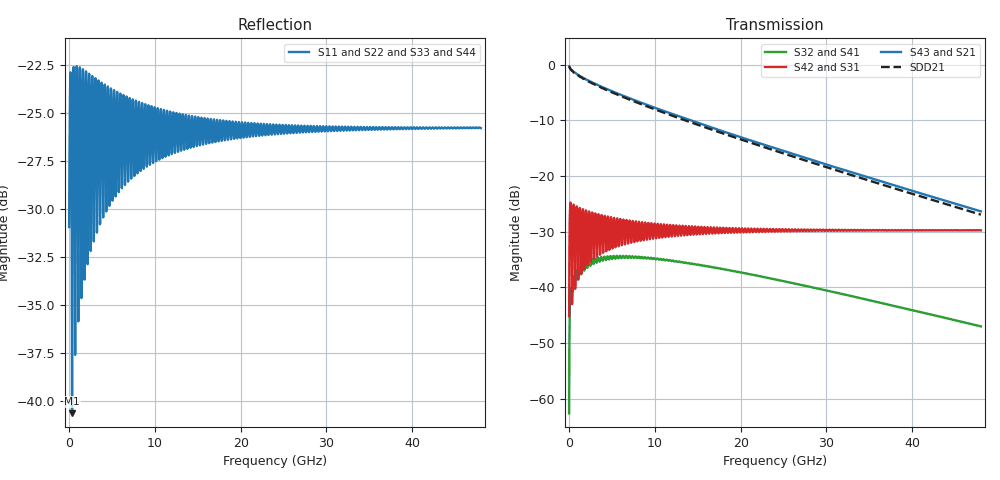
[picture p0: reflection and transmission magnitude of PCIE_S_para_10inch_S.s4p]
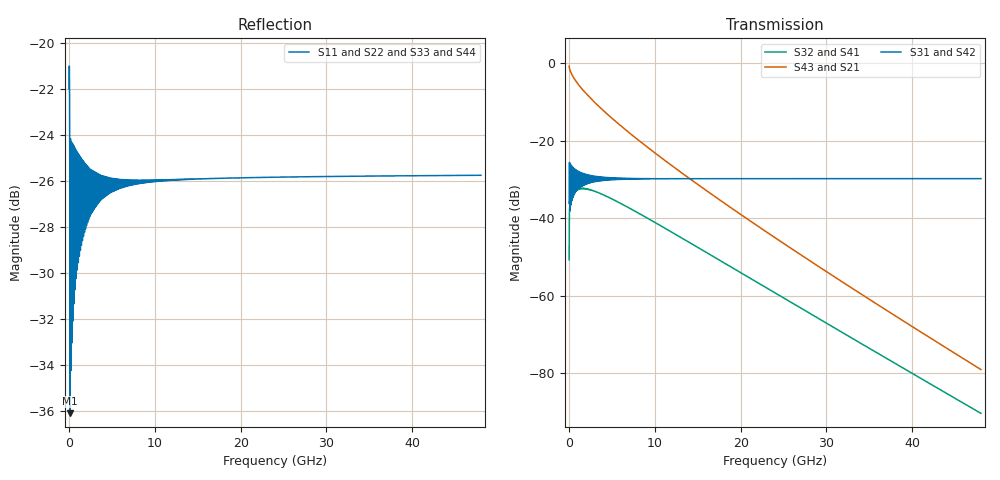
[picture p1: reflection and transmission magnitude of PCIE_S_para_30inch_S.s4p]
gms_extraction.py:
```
import numpy as np
import skrf as rf
import matplotlib.pyplot as plt
import os
import datetime

# ==========================================
# 用户配置区域 / User Configuration
# ==========================================
# 模式选择 / Mode Selection
# True: 双线去嵌模式 (Dual Line De-embedding)
# False: 单线模式 (Single Line Mode)
ENABLE_DEEMBEDDING = False

# 输入文件名 / Input Filenames
# 如果开启去嵌模式，请设置 SHORT 和 LONG 文件名
SHORT_LINE_FILENAME = 'PCIE_S_para_10inch_S.s4p'
LONG_LINE_FILENAME = 'PCIE_S_para_30inch_S.s4p'

# 如果关闭去嵌模式 (单线模式)，请设置 SINGLE 文件名
SINGLE_LINE_FILENAME = 'demo_channel.s4p'
# ==========================================

def extract_gms_single(file_path):
    """
    Extracts GMS parameters from a single transmission line file.
    Does not perform de-embedding (M = T).
    """
    # 1. Read Touchstone file
    print(f"Loading Single file: {file_path}")
    try:
        nw = rf.Network(file_path)
        print(f"  File loaded. Points: {len(nw.f)}, Ports: {nw.nports}")
    except Exception as e:
        raise ValueError(f"Failed to load Touchstone file. Error: {e}")
        
    freq = nw.f
    num_points = len(freq)

    # 2. Handle Single-Ended vs. Differential
    if nw.nports == 2:
        s_mat = nw.s
    elif nw.nports == 4:
        # Create permuted S-matrix manually for proper Differential Mode extraction
        # P: 1(0)-2(1), N: 3(2)-4(3) -> Standard: In(0,2)->Diff1, Out(1,3)->Diff2
        s_orig = nw.s
        perm = [0, 2, 1, 3]
        s_perm = s_orig[:, perm, :][:, :, perm]
        nw_perm = rf.Network(frequency=nw.frequency, s=s_perm)
        nw_perm.se2gmm(p=2)
        s_mat = nw_perm.s[:, 0:2, 0:2] # Extract Sdd
    else:
        raise ValueError("Unsupported number of ports.")

    # 3. S to T
    t_mat = rf.s2t(s_mat)

    # 4. GMS Extraction (Eigenvalues of T)
    # Direct eigenvalue decomposition of T-matrix for single line
    lambda_forward = np.zeros(num_points, dtype=complex)
    
    for i in range(num_points):
        T = t_mat[i]
        try:
            eigenvalues = np.linalg.eigvals(T)
            # Select eigenvalue with magnitude <= 1 (passive)
            # We assume the line is passive
            if np.abs(eigenvalues[0]) < np.abs(eigenvalues[1]):
                lambda_forward[i] = eigenvalues[0]
            else:
                lambda_forward[i] = eigenvalues[1]
        except np.linalg.LinAlgError:
            lambda_forward[i] = np.nan + 1j * np.nan
            
    return freq, lambda_forward


def extract_gms(file_short, file_long):
    """
    Extracts the Generalized Modal S-parameters (GMS) representing the pure 
    propagation characteristics of a transmission line difference.
    
    Args:
        file_short (str): Path to the short transmission line Touchstone file.
        file_long (str): Path to the long transmission line Touchstone file.
        
    Returns:
        tuple: (frequency_axis_in_Hz, lambda_forward_array)
    """
    # 1. Read Touchstone files
    print(f"Loading files:\n  Short: {file_short}\n  Long:  {file_long}")
    try:
        nw_short = rf.Network(file_short)
        print(f"  Short line loaded. Points: {len(nw_short.f)}, Ports: {nw_short.nports}")
        nw_long = rf.Network(file_long)
        print(f"  Long line loaded. Points: {len(nw_long.f)}, Ports: {nw_long.nports}")
    except Exception as e:
        raise ValueError(f"Failed to load Touchstone files. Error: {e}")
    
    # Check if frequency points match exactly
    if not np.array_equal(nw_short.f, nw_long.f):
        raise ValueError("The frequency points of the two files do not match exactly.")
    
    freq = nw_short.f
    num_points = len(freq)
    
    # 2. Handle Single-Ended vs. Differential
    if nw_short.nports == 2 and nw_long.nports == 2:
        # 2-port (Single-ended): Keep the 2x2 S-parameter matrix as is
        s_short = nw_short.s
        s_long = nw_long.s
    elif nw_short.nports == 4 and nw_long.nports == 4:
        # 4-port (Differential): Convert to mixed-mode and extract Sdd
        # The user specified port mapping:
        # P: 1 -> 2
        # N: 3 -> 4
        # This means ports 1,3 are input (P,N) and ports 2,4 are output (P,N)
        # skrf se2gmm default expects ports 1,2 to be diff pair 1 and 3,4 to be diff pair 2.
        # We need to renumber the ports so that:
        # New Port 1 = Old Port 1 (Input P)
        # New Port 2 = Old Port 3 (Input N)
        # New Port 3 = Old Port 2 (Output P)
        # New Port 4 = Old Port 4 (Output N)
        
        # skrf.Network.renumber(from_ports, to_ports)
        # We want to reorder ports to match se2gmm expectation.
        # se2gmm(p=2) expects:
        #  - Diff Port 1 composed of (NewPort0, NewPort1)
        #  - Diff Port 2 composed of (NewPort2, NewPort3)
        # User config:
        #  - Input Diff Pair = (OldPort0, OldPort2)  [User said P:1, N:3]
        #  - Output Diff Pair = (OldPort1, OldPort3) [User said P:2, N:4]
        
        # So we want the new port order to be: [Old0, Old2, Old1, Old3]
        # In skrf.renumber, the signatures are tricky.
        # It's better to use subset indexing which acts as reordering.
        # new_ntwk = ntwk.subnetwork([0, 2, 1, 3])  <-- This might be cleaner if supported, 
        # but skrf usually uses default indexing for subsetting.
        
        # Let's use the explicit renumber method which swaps indices.
        # Actually, creating a new network from s-parameters with permuted indices is safer 
        # to ensure we don't misunderstand 'renumber'.
        
        # Original S-matrix shape: (freq, 4, 4)
        # We want to shuffle rows and columns.
        # New order of indices: [0, 2, 1, 3]
        # 0 -> 0
        # 1 -> 2
        # 2 -> 1
        # 3 -> 3
        
        # Let's implement this manually on the s-matrix to be absolutely sure.
        s_short_orig = nw_short.s
        s_long_orig = nw_long.s
        
        # Permutation vector
        perm = [0, 2, 1, 3]
        
        # Reorder s_short
        s_short_perm = s_short_orig[:, perm, :][:, :, perm]
        # Reorder s_long
        s_long_perm = s_long_orig[:, perm, :][:, :, perm]
        
        # Create temporary networks for conversion
        nw_short_perm = rf.Network(frequency=nw_short.frequency, s=s_short_perm)
        nw_long_perm = rf.Network(frequency=nw_long.frequency, s=s_long_perm)
        
        # Now convert to mixed mode
        nw_short_perm.se2gmm(p=2)
        nw_long_perm.se2gmm(p=2)
        
        # Extract Sdd (differential-to-differential) which is the first 2x2 block
        s_short = nw_short_perm.s[:, 0:2, 0:2]
        s_long = nw_long_perm.s[:, 0:2, 0:2]
    else:
        raise ValueError("Unsupported number of ports. Must be both 2-port or both 4-port.")
        
    # 3. S-parameters to T-parameters Conversion
    # Convert the 2x2 S-parameter matrix to 2x2 T-parameters
    t_short = rf.s2t(s_short)
    t_long = rf.s2t(s_long)
    
    # 4. The Core Patent Algorithm (Matrix Math & Eigenvalues)
    lambda_forward = np.zeros(num_points, dtype=complex)
    
    for i in range(num_points):
        T1 = t_short[i]
        T2 = t_long[i]
        
        try:
            # Calculate the de-embedding matrix M
            # According to the method: M = T_long * inv(T_short)
            # T1 is t_short, T2 is t_long
            T1_inv = np.linalg.inv(T1)
            M = np.matmul(T2, T1_inv)
            
            # Calculate the eigenvalues of matrix M
            eigenvalues = np.linalg.eigvals(M)
            
            # Select the correct eigenvalue (smaller magnitude, representing attenuation)
            # A passive transmission line must have attenuation, so magnitude <= 1
            # Note: Sometimes numerical noise might make it slightly > 1, but generally <= 1.
            # We select the one with the smaller magnitude.
            # However, we must be careful. The eigenvalues correspond to e^(-gamma*L) and e^(+gamma*L).
            # e^(-gamma*L) is the forward transmission (lossy), so magnitude < 1.
            # e^(+gamma*L) is the formulation for backward, magnitude > 1.
            
            # Let's sort by magnitude
            # We want the one with magnitude < 1 (or the smaller one if both are close to 1)
            # Also, check for phase continuity to avoid swapping?
            # For now, just magnitude based selection as per instructions.
            
            if np.abs(eigenvalues[0]) < np.abs(eigenvalues[1]):
                lambda_forward[i] = eigenvalues[0]
            else:
                lambda_forward[i] = eigenvalues[1]
                
        except np.linalg.LinAlgError:
            # Handle singular matrix inversion gracefully
            lambda_forward[i] = np.nan + 1j * np.nan
            
    return freq, lambda_forward

if __name__ == '__main__':
    script_dir = os.path.dirname(os.path.abspath(__file__))
    
    # Generate timestamp string (YYYYMMDD_HHMMSS)
    timestamp_str = datetime.datetime.now().strftime("%Y%m%d_%H%M%S")

    try:
        if ENABLE_DEEMBEDDING:
            if not SHORT_LINE_FILENAME or not LONG_LINE_FILENAME:
                raise ValueError("Error: De-embedding mode enabled but SHORT or LONG filename is missing.")
                
            print(f"[{timestamp_str}] Dual De-embedding Mode Selected.")
            file_short_path = os.path.join(script_dir, SHORT_LINE_FILENAME)
            file_long_path = os.path.join(script_dir, LONG_LINE_FILENAME)
            
            if not os.path.exists(file_short_path):
                raise FileNotFoundError(f"Error: Short line file not found at: {file_short_path}")
            if not os.path.exists(file_long_path):
                raise FileNotFoundError(f"Error: Long line file not found at: {file_long_path}")

            print(f"Reading Short Line: {file_short_path}")
            print(f"Reading Long Line:  {file_long_path}")
                
            freq, lambda_forward = extract_gms(file_short_path, file_long_path)
            mode_str = "deembedded"
            base_name = os.path.splitext(LONG_LINE_FILENAME)[0]
        
        else:
            if not SINGLE_LINE_FILENAME:
                 raise ValueError("Error: Single line mode enabled but SINGLE filename is missing.")
            
            print(f"[{timestamp_str}] Single File Mode Selected.")
            file_single_path = os.path.join(script_dir, SINGLE_LINE_FILENAME)
            if not os.path.exists(file_single_path):
                raise FileNotFoundError(f"Error: Single file not found at: {file_single_path}")

            print(f"Reading Single Line: {file_single_path}")
            freq, lambda_forward = extract_gms_single(file_single_path)
            mode_str = "single"
            base_name = os.path.splitext(SINGLE_LINE_FILENAME)[0]
        
        # 5. Construct the final GMS S21 and Plot
        # Calculate Magnitude in dB
        # Avoid log10(0) by adding a small epsilon if necessary, though lambda_forward shouldn't be 0
        mag_db = 20 * np.log10(np.abs(lambda_forward) + 1e-15)
        
        # Calculate Phase in degrees (unwrapped)
        # The phase should be unwrapped and then wrapped to 360 degrees
        phase_rad = np.unwrap(np.angle(lambda_forward))
        phase_deg = np.degrees(phase_rad)
        
        # Wrap phase to 360 degrees
        phase_deg = phase_deg % 360
        
        freq_ghz = freq / 1e9
        
        # 6. Output GMS parameters to .s4p file
        # Create a 4-port network with the same format as input
        # S11, S22, S33, S44 = 0
        # S21, S12, S43, S34 = lambda_forward (assuming symmetric and same for P and N)
        # Other cross terms = 0
        
        num_points = len(freq)
        s_gms = np.zeros((num_points, 4, 4), dtype=complex)
        
        # User specified P: 1-2, N: 3-4.
        # S21 (From Port 1 to Port 2) -> index [1, 0]
        s_gms[:, 1, 0] = lambda_forward
        # S12 (From Port 2 to Port 1) -> index [0, 1]
        s_gms[:, 0, 1] = lambda_forward
        
        # S43 (From Port 3 to Port 4) -> index [3, 2]
        s_gms[:, 3, 2] = lambda_forward
        # S34 (From Port 4 to Port 3) -> index [2, 3]
        s_gms[:, 2, 3] = lambda_forward
        
        nw_gms = rf.Network(frequency=rf.Frequency.from_f(freq, unit='hz'), s=s_gms)
        
        # Output filename: [time]_[filename]_diffline.s4p
        output_filename = f"{timestamp_str}_{base_name}_diffline.s4p"
        output_file_path = os.path.join(script_dir, output_filename)
        
        nw_gms.write_touchstone(output_file_path)
        print(f"GMS parameters saved to: {output_file_path}")
        
        # Plotting
        fig, (ax1, ax2) = plt.subplots(2, 1, figsize=(10, 8))
        
        # Subplot 1: Magnitude
        ax1.plot(freq_ghz, mag_db, label=f'GMS S21 ({mode_str})', color='b')
        ax1.set_title(f'GMS S21 Magnitude ({mode_str})')
        ax1.set_xlabel('Frequency (GHz)')
        ax1.set_ylabel('Magnitude (dB)')
        ax1.grid(True)
        ax1.legend()
        
        # Subplot 2: Phase
        ax2.plot(freq_ghz, phase_deg, label=f'GMS S21 Phase ({mode_str})', color='r')
        ax2.set_title(f'GMS S21 Phase ({mode_str})')
        ax2.set_xlabel('Frequency (GHz)')
        ax2.set_ylabel('Phase (Degrees)')
        ax2.grid(True)
        ax2.legend()
        
        plt.tight_layout()
        print("Showing plot...")
        plt.show()
        print("Script finished successfully.")
        
    except Exception as e:
        print(f"An error occurred: {e}")
```
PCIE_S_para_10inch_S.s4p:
#	Hz	S	MA	R	50
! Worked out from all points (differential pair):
!   4800 points, 10 MHz to 48 GHz, reference 50 ohm
!   strongest paths, dB at 10 MHz, 12.01 GHz, 24.01 GHz, 36.01 GHz, 48 GHz:
!     S43: -0.3, -8.8, -15.0, -20.8, -26.4
!     S21: -0.3, -8.8, -15.0, -20.8, -26.4
!     S42: -45.2, -30.6, -30.0, -29.8, -29.8
!     S31: -45.2, -30.6, -30.0, -29.8, -29.8
!     S32: -62.7, -35.2, -38.6, -42.7, -47.0
!     S41: -62.7, -35.2, -38.6, -42.7, -47.0
!   taken as a pair (ports 3,1 in; 4,2 out), SDD21 dB: -0.3, -9.1, -15.4, -21.3, -26.9
!   lowest |S11| = -40.6 dB at 350 MHz (marker M1), VSWR 1.02, Z = 49.1 - j0.0445 ohm
!   |S11| at or under -10 dB: start of sweep to end of sweep
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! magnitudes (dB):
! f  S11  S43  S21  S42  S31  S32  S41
! 10 MHz  -30.9  -0.3  -0.3  -45.2  -45.2  -62.7  -62.7
! 350 MHz  -40.6  -1.0  -1.0  -43.0  -43.0  -42.1  -42.1
! 48 GHz  -25.8  -26.4  -26.4  -29.8  -29.8  -47.0  -47.0
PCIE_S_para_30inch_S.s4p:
#	Hz	S	MA	R	50
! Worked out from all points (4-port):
!   4800 points, 10 MHz to 48 GHz, reference 50 ohm
!   strongest paths, dB at 10 MHz, 12.01 GHz, 24.01 GHz, 36.01 GHz, 48 GHz:
!     S31: -36.1, -29.8, -29.8, -29.8, -29.8
!     S42: -36.1, -29.8, -29.8, -29.8, -29.8
!     S43: -0.8, -26.5, -45.0, -62.3, -79.0
!     S21: -0.8, -26.5, -45.0, -62.3, -79.0
!     S32: -50.7, -43.6, -59.2, -74.8, -90.3
!     S41: -50.7, -43.6, -59.2, -74.8, -90.3
!   lowest |S11| = -36.1 dB at 120 MHz (marker M1), VSWR 1.03, Z = 49.3 - j1.38 ohm
!   |S11| at or under -10 dB: start of sweep to end of sweep
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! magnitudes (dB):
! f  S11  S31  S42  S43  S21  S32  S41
! 10 MHz  -22.0  -36.1  -36.1  -0.8  -0.8  -50.7  -50.7
! 120 MHz  -36.1  -38.0  -38.0  -1.8  -1.8  -37.5  -37.5
! 48 GHz  -25.8  -29.8  -29.8  -79.0  -79.0  -90.3  -90.3
